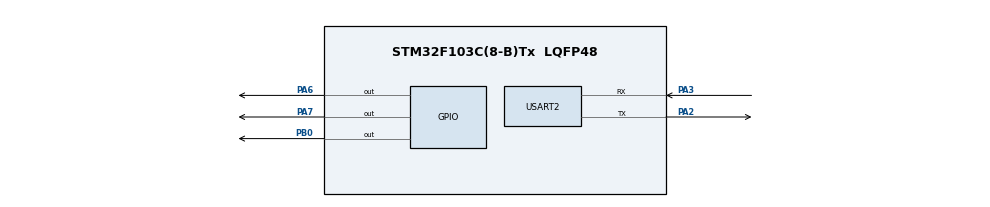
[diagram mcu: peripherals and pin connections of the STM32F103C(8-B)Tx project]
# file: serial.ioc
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Dma.Request0=USART2_TX
Dma.Request1=USART2_RX
Dma.USART2_RX.1.Direction=DMA_PERIPH_TO_MEMORY
Dma.USART2_RX.1.Instance=DMA1_Channel6
Dma.USART2_RX.1.MemDataAlignment=DMA_MDATAALIGN_BYTE
Dma.USART2_RX.1.MemInc=DMA_MINC_ENABLE
Dma.USART2_RX.1.Mode=DMA_NORMAL
Dma.USART2_RX.1.PeriphDataAlignment=DMA_PDATAALIGN_BYTE
Dma.USART2_RX.1.PeriphInc=DMA_PINC_DISABLE
Dma.USART2_RX.1.Priority=DMA_PRIORITY_LOW
Dma.USART2_TX.0.Direction=DMA_MEMORY_TO_PERIPH
Dma.USART2_TX.0.Instance=DMA1_Channel7
Dma.USART2_TX.0.MemDataAlignment=DMA_MDATAALIGN_BYTE
Dma.USART2_TX.0.MemInc=DMA_MINC_ENABLE
Dma.USART2_TX.0.Mode=DMA_NORMAL
Dma.USART2_TX.0.PeriphDataAlignment=DMA_PDATAALIGN_BYTE
Dma.USART2_TX.0.PeriphInc=DMA_PINC_DISABLE
Dma.USART2_TX.0.Priority=DMA_PRIORITY_LOW
Mcu.Family=STM32F1
Mcu.Name=STM32F103C(8-B)Tx
Mcu.Package=LQFP48
NVIC.DMA1_Channel6_IRQn=true\:0\:0\:false\:false\:true\:false\:true\:true
NVIC.DMA1_Channel7_IRQn=true\:0\:0\:false\:false\:true\:false\:true\:true
NVIC.PriorityGroup=NVIC_PRIORITYGROUP_4
NVIC.USART2_IRQn=true\:0\:0\:false\:false\:true\:true\:true\:true
PA13.Mode=Serial_Wire
PA13.Signal=SYS_JTMS-SWDIO
PA14.Mode=Serial_Wire
PA14.Signal=SYS_JTCK-SWCLK
PA2.Mode=Asynchronous
PA2.Signal=USART2_TX
PA3.Mode=Asynchronous
PA3.Signal=USART2_RX
PA6.Signal=GPIO_Output
PA7.Signal=GPIO_Output
PB0.Signal=GPIO_Output
PD0-OSC_IN.Mode=HSE-External-Oscillator
PD0-OSC_IN.Signal=RCC_OSC_IN
PD1-OSC_OUT.Mode=HSE-External-Oscillator
PD1-OSC_OUT.Signal=RCC_OSC_OUT
ProjectManager.HeapSize=0x200
ProjectManager.StackSize=0x400
ProjectManager.TargetToolchain=MDK-ARM V5.32
RCC.APB1Freq_Value=8000000
RCC.APB2Freq_Value=8000000
USART2.VirtualMode=VM_ASYNC
board=custom

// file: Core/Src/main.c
/* USER CODE BEGIN Header */
/**
  ******************************************************************************
  * @file           : main.c
  * @brief          : Main program body
  ******************************************************************************
  * @attention
  *
  * Copyright (c) 2026 STMicroelectronics.
  * All rights reserved.
  *
  * This software is licensed under terms that can be found in the LICENSE file
  * in the root directory of this software component.
  * If no LICENSE file comes with this software, it is provided AS-IS.
  *
  ******************************************************************************
  */
/* USER CODE END Header */
#include "main.h"
#include "dma.h"
#include "usart.h"
#include "gpio.h"

/* USER CODE BEGIN Includes */
#include <string.h>
/* USER CODE END Includes */

/* USER CODE BEGIN PV */
	uint8_t recedata[50];
	extern DMA_HandleTypeDef hdma_usart1_rx;
/* USER CODE END PV */

void SystemClock_Config(void);

/* USER CODE BEGIN 0 */

	void HAL_UART_RxCpltCallback(UART_HandleTypeDef *huart)//串口中断回调函数 定长数据
	{
				HAL_UART_Transmit_DMA(&huart2,recedata,2);
		GPIO_PinState state =GPIO_PIN_SET;
		if(recedata[1] == '0')
		{
		 state = GPIO_PIN_RESET;
		}

		if(recedata[0] == 'R')
		{
			HAL_GPIO_WritePin(GPIOB,GPIO_PIN_0,state);
		}
		else if(recedata[0] == 'G')
		{
			HAL_GPIO_WritePin(GPIOA,GPIO_PIN_6, state);
		}
		else if(recedata[0] == 'B')
		{
			HAL_GPIO_WritePin(GPIOA,GPIO_PIN_7, state);
		}
		HAL_UART_Receive_DMA(&huart2,recedata,2);

	}
void HAL_UARTEx_RxReventCallback(UART_HandleTypeDef *huart,uint16_t size)
{
		if(huart == &huart2)
		{
			HAL_UARTEx_ReceiveToIdle_DMA(&huart2,recedata,sizeof(recedata));
			__HAL_DMA_DISABLE_IT(&hdma_usart2_rx,DMA_IT_HT);
		}
}
/* USER CODE END 0 */

int main(void)
{

  /* MCU Configuration--------------------------------------------------------*/

  /* Reset of all peripherals, Initializes the Flash interface and the Systick. */
  HAL_Init();

  /* Configure the system clock */
  SystemClock_Config();

  /* Initialize all configured peripherals */
  MX_GPIO_Init();
  MX_DMA_Init();
  MX_USART2_UART_Init();
  /* USER CODE BEGIN 2 */
//	char message[]="Hello/n";
	//	HAL_UART_Receive_DMA(&huart2,recedata,2);
	HAL_UARTEx_ReceiveToIdle_DMA(&huart2,recedata,sizeof(recedata));
	__HAL_DMA_DISABLE_IT(&hdma_usart2_rx,DMA_IT_HT);
  /* USER CODE END 2 */

  /* Infinite loop */
  /* USER CODE BEGIN WHILE */
  while (1)
  {
//		HAL_UART_Transmit(&huart2,(uint8_t*)message,strlen(message),100);
//		HAL_Delay(1);
//		HAL_UART_Receive(&huart2,recedata,2,HAL_MAX_DELAY);

//		HAL_UART_Transmit(&huart2,recedata,2,100);

    /* USER CODE END WHILE */

  }
}

void SystemClock_Config(void)
{
  RCC_OscInitTypeDef RCC_OscInitStruct = {0};
  RCC_ClkInitTypeDef RCC_ClkInitStruct = {0};

  /** Initializes the RCC Oscillators according to the specified parameters
  * in the RCC_OscInitTypeDef structure.
  */
  RCC_OscInitStruct.OscillatorType = RCC_OSCILLATORTYPE_HSI;
  RCC_OscInitStruct.HSIState = RCC_HSI_ON;
  RCC_OscInitStruct.HSICalibrationValue = RCC_HSICALIBRATION_DEFAULT;
  RCC_OscInitStruct.PLL.PLLState = RCC_PLL_NONE;
  if (HAL_RCC_OscConfig(&RCC_OscInitStruct) != HAL_OK)
  {
    Error_Handler();
  }

  /** Initializes the CPU, AHB and APB buses clocks
  */
  RCC_ClkInitStruct.ClockType = RCC_CLOCKTYPE_HCLK|RCC_CLOCKTYPE_SYSCLK
                              |RCC_CLOCKTYPE_PCLK1|RCC_CLOCKTYPE_PCLK2;
  RCC_ClkInitStruct.SYSCLKSource = RCC_SYSCLKSOURCE_HSI;
  RCC_ClkInitStruct.AHBCLKDivider = RCC_SYSCLK_DIV1;
  RCC_ClkInitStruct.APB1CLKDivider = RCC_HCLK_DIV1;
  RCC_ClkInitStruct.APB2CLKDivider = RCC_HCLK_DIV1;

  if (HAL_RCC_ClockConfig(&RCC_ClkInitStruct, FLASH_LATENCY_0) != HAL_OK)
  {
    Error_Handler();
  }
}

void Error_Handler(void)
{
  __disable_irq();
  while (1)
  {
  }
}
